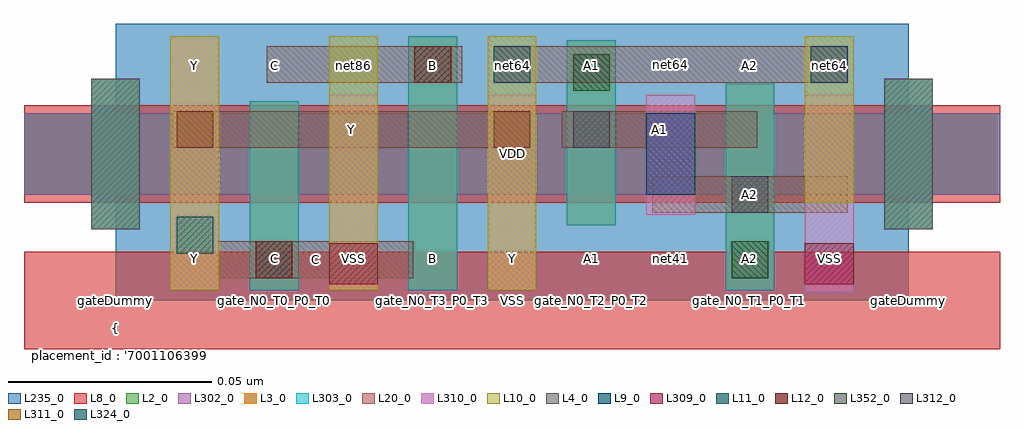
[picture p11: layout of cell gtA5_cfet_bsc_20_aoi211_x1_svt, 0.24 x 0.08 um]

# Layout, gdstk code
import gdstk
lib = gdstk.Library(unit=1e-6, precision=2.5e-10)
def R(c, l, rs):  # rectangles x0, y0, x1, y1
    for r in rs: c.add(gdstk.rectangle(r[:2], r[2:], *l))
def A(c, l, x, y, w, h, nx, ny, dx, dy):  # array of equal rectangles
    R(c, l, [(x+i*dx, y+j*dy, x+i*dx+w, y+j*dy+h) for i in range(nx) for j in range(ny)])
L2_0 = (2, 0)
L3_0 = (3, 0)
L4_0 = (4, 0)
L8_0 = (8, 0)
L9_0 = (9, 0)
L10_0 = (10, 0)
L11_0 = (11, 0)
L12_0 = (12, 0)
L20_0 = (20, 0)
L235_0 = (235, 0)
L302_0 = (302, 0)
L303_0 = (303, 0)
L309_0 = (309, 0)
L310_0 = (310, 0)
L311_0 = (311, 0)
L312_0 = (312, 0)
L324_0 = (324, 0)
L352_0 = (352, 0)

gta5_cfet_bsc_20_aoi211_ = lib.new_cell('gtA5_cfet_bsc_20_aoi211_x1_svt')
R(gta5_cfet_bsc_20_aoi211_, L2_0, [(-0.0225,0.026,0.2175,0.046)])
R(gta5_cfet_bsc_20_aoi211_, L3_0, [(0.033,0.0025,0.045,0.049), (0.072,0.0025,0.084,0.065), (0.15,0.0025,0.162,0.0535), (-0.006,0.0175,0.006,0.0545), (0.189,0.0175,0.201,0.0545), (0.111,0.0185,0.123,0.064)])
R(gta5_cfet_bsc_20_aoi211_, L4_0, [(-0.006,0.0175,0.006,0.0545), (0.189,0.0175,0.201,0.0545)])
R(gta5_cfet_bsc_20_aoi211_, L8_0, [(-0.0225,-0.012,0.2175,0.012), (-0.0225,0.024,0.2175,0.048)])
R(gta5_cfet_bsc_20_aoi211_, L9_0, [(0.1305,0.026,0.1425,0.046)])
A(gta5_cfet_bsc_20_aoi211_, L10_0, 0.0135, 0.0025, 0.012, 0.0625, 3, 1, 0.039, 0)
R(gta5_cfet_bsc_20_aoi211_, L10_0, [(0.1695,0.024,0.1815,0.065)])
R(gta5_cfet_bsc_20_aoi211_, L11_0, [(0.093,0.0535,0.102,0.0625), (0.171,0.0535,0.18,0.0625)])
R(gta5_cfet_bsc_20_aoi211_, L12_0, [(0.0345,0.0055,0.0435,0.0145), (0.0735,0.0535,0.0825,0.0625)])
R(gta5_cfet_bsc_20_aoi211_, L20_0, [(0.0253,0.0055,0.0732,0.0145), (0.132,0.0215,0.18,0.0305), (0.014,0.0375,0.102,0.0465), (0.1098,0.0375,0.1578,0.0465), (0.0372,0.0535,0.0853,0.0625), (0.093,0.0535,0.18,0.0625)])
R(gta5_cfet_bsc_20_aoi211_, L235_0, [(0,0,0.195,0.068)])
R(gta5_cfet_bsc_20_aoi211_, L302_0, [(-0.0225,0.026,0.2175,0.046)])
R(gta5_cfet_bsc_20_aoi211_, L303_0, [(0.033,0.0025,0.045,0.049), (0.072,0.0025,0.084,0.065), (0.15,0.0025,0.162,0.0535), (-0.006,0.0175,0.006,0.0545), (0.189,0.0175,0.201,0.0545), (0.111,0.0185,0.123,0.064)])
R(gta5_cfet_bsc_20_aoi211_, L309_0, [(0.0525,0.004,0.0645,0.014), (0.1695,0.004,0.1815,0.014)])
R(gta5_cfet_bsc_20_aoi211_, L310_0, [(0.1695,0.002,0.1815,0.0505), (0.0135,0.0025,0.0255,0.065), (0.0525,0.0025,0.0645,0.0505), (0.0915,0.0025,0.1035,0.0505), (0.1305,0.021,0.1425,0.0505)])
R(gta5_cfet_bsc_20_aoi211_, L311_0, [(0.015,0.0375,0.024,0.0465), (0.093,0.0375,0.102,0.0465)])
R(gta5_cfet_bsc_20_aoi211_, L312_0, [(0.1515,0.0215,0.1605,0.0305), (0.1125,0.0375,0.1215,0.0465)])
R(gta5_cfet_bsc_20_aoi211_, L324_0, [(0.015,0.0115,0.024,0.0205)])
R(gta5_cfet_bsc_20_aoi211_, L352_0, [(0.1515,0.0055,0.1605,0.0145), (0.1125,0.0515,0.1215,0.0605)])
gta5_cfet_bsc_20_aoi211_.add(gdstk.Label('net64', (0.1365,0.058), layer=100, texttype=100))
gta5_cfet_bsc_20_aoi211_.add(gdstk.Label('gateDummy', (0,0), layer=103, texttype=103))
gta5_cfet_bsc_20_aoi211_.add(gdstk.Label('sd_N0_T2_P0_T2', (0.0195,0), layer=103, texttype=103))
gta5_cfet_bsc_20_aoi211_.add(gdstk.Label('gate_N0_T0_P0_T0', (0.039,0), layer=103, texttype=103))
gta5_cfet_bsc_20_aoi211_.add(gdstk.Label('sd_N0_VSS', (0.0585,0), layer=103, texttype=103))
gta5_cfet_bsc_20_aoi211_.add(gdstk.Label('gate_N0_T3_P0_T3', (0.078,0), layer=103, texttype=103))
gta5_cfet_bsc_20_aoi211_.add(gdstk.Label('sd_N0_T2_P0_T3', (0.0975,0), layer=103, texttype=103))
gta5_cfet_bsc_20_aoi211_.add(gdstk.Label('gate_N0_T2_P0_T2', (0.117,0), layer=103, texttype=103))
gta5_cfet_bsc_20_aoi211_.add(gdstk.Label('sd_P0_VDD', (0.1365,0), layer=103, texttype=103))
gta5_cfet_bsc_20_aoi211_.add(gdstk.Label('gate_N0_T1_P0_T1', (0.156,0), layer=103, texttype=103))
gta5_cfet_bsc_20_aoi211_.add(gdstk.Label('sd_N0_VSS_P0_T3', (0.1755,0), layer=103, texttype=103))
gta5_cfet_bsc_20_aoi211_.add(gdstk.Label('gateDummy', (0.195,0), layer=103, texttype=103))
gta5_cfet_bsc_20_aoi211_.add(gdstk.Label('}', (0,-0.0742), layer=104, texttype=104))
gta5_cfet_bsc_20_aoi211_.add(gdstk.Label('  power : None', (0,-0.0675), layer=104, texttype=104))
gta5_cfet_bsc_20_aoi211_.add(gdstk.Label('  performance : None', (0,-0.0607), layer=104, texttype=104))
gta5_cfet_bsc_20_aoi211_.add(gdstk.Label("  solution_hash : '16362678035721073476'", (0,-0.054), layer=104, texttype=104))
gta5_cfet_bsc_20_aoi211_.add(gdstk.Label('  number_m2 : 0', (0,-0.0473), layer=104, texttype=104))
gta5_cfet_bsc_20_aoi211_.add(gdstk.Label('  number_m1 : 0', (0,-0.0405), layer=104, texttype=104))
gta5_cfet_bsc_20_aoi211_.add(gdstk.Label('  number_m0cuts : 0', (0,-0.0338), layer=104, texttype=104))
gta5_cfet_bsc_20_aoi211_.add(gdstk.Label('  number_m0 : 6', (0,-0.027), layer=104, texttype=104))
gta5_cfet_bsc_20_aoi211_.add(gdstk.Label("  solution_number : '0000'", (0,-0.0203), layer=104, texttype=104))
gta5_cfet_bsc_20_aoi211_.add(gdstk.Label("  placement_id : '7001106399910478332'", (0,-0.0135), layer=104, texttype=104))
gta5_cfet_bsc_20_aoi211_.add(gdstk.Label('{', (0,-0.0067), layer=104, texttype=104))
gta5_cfet_bsc_20_aoi211_.add(gdstk.Label('Y', (0.0195,0.0103), layer=105, texttype=105))
gta5_cfet_bsc_20_aoi211_.add(gdstk.Label('C', (0.039,0.0103), layer=105, texttype=105))
gta5_cfet_bsc_20_aoi211_.add(gdstk.Label('VSS', (0.0585,0.0103), layer=105, texttype=105))
gta5_cfet_bsc_20_aoi211_.add(gdstk.Label('B', (0.078,0.0103), layer=105, texttype=105))
gta5_cfet_bsc_20_aoi211_.add(gdstk.Label('Y', (0.0975,0.0103), layer=105, texttype=105))
gta5_cfet_bsc_20_aoi211_.add(gdstk.Label('A1', (0.117,0.0103), layer=105, texttype=105))
gta5_cfet_bsc_20_aoi211_.add(gdstk.Label('net41', (0.1365,0.0103), layer=105, texttype=105))
gta5_cfet_bsc_20_aoi211_.add(gdstk.Label('A2', (0.156,0.0103), layer=105, texttype=105))
gta5_cfet_bsc_20_aoi211_.add(gdstk.Label('VSS', (0.1755,0.0103), layer=105, texttype=105))
gta5_cfet_bsc_20_aoi211_.add(gdstk.Label('Y', (0.0195,0.0578), layer=105, texttype=105))
gta5_cfet_bsc_20_aoi211_.add(gdstk.Label('C', (0.039,0.0578), layer=105, texttype=105))
gta5_cfet_bsc_20_aoi211_.add(gdstk.Label('net86', (0.0585,0.0578), layer=105, texttype=105))
gta5_cfet_bsc_20_aoi211_.add(gdstk.Label('B', (0.078,0.0578), layer=105, texttype=105))
gta5_cfet_bsc_20_aoi211_.add(gdstk.Label('net64', (0.0975,0.0578), layer=105, texttype=105))
gta5_cfet_bsc_20_aoi211_.add(gdstk.Label('A1', (0.117,0.0578), layer=105, texttype=105))
gta5_cfet_bsc_20_aoi211_.add(gdstk.Label('VDD', (0.1365,0.0578), layer=105, texttype=105))
gta5_cfet_bsc_20_aoi211_.add(gdstk.Label('A2', (0.156,0.0578), layer=105, texttype=105))
gta5_cfet_bsc_20_aoi211_.add(gdstk.Label('net64', (0.1755,0.0578), layer=105, texttype=105))
gta5_cfet_bsc_20_aoi211_.add(gdstk.Label('VSS', (0.0975,0), layer=8, texttype=0))
gta5_cfet_bsc_20_aoi211_.add(gdstk.Label('VDD', (0.0975,0.036), layer=8, texttype=0))
gta5_cfet_bsc_20_aoi211_.add(gdstk.Label('C', (0.0493,0.01), layer=20, texttype=251))
gta5_cfet_bsc_20_aoi211_.add(gdstk.Label('A2', (0.156,0.026), layer=20, texttype=251))
gta5_cfet_bsc_20_aoi211_.add(gdstk.Label('Y', (0.058,0.042), layer=20, texttype=251))
gta5_cfet_bsc_20_aoi211_.add(gdstk.Label('A1', (0.1338,0.042), layer=20, texttype=251))
gta5_cfet_bsc_20_aoi211_.add(gdstk.Label('B', (0.0612,0.058), layer=20, texttype=251))
gta5_cfet_bsc_20_aoi211_.add(gdstk.Label('gtA5_cfet_bsc_20nm_aoi211_x1_rvt_0', (0,0), layer=235, texttype=0))

lib.write_gds('gtA5_cfet_bsc_20_aoi211_x1_svt.gds')
